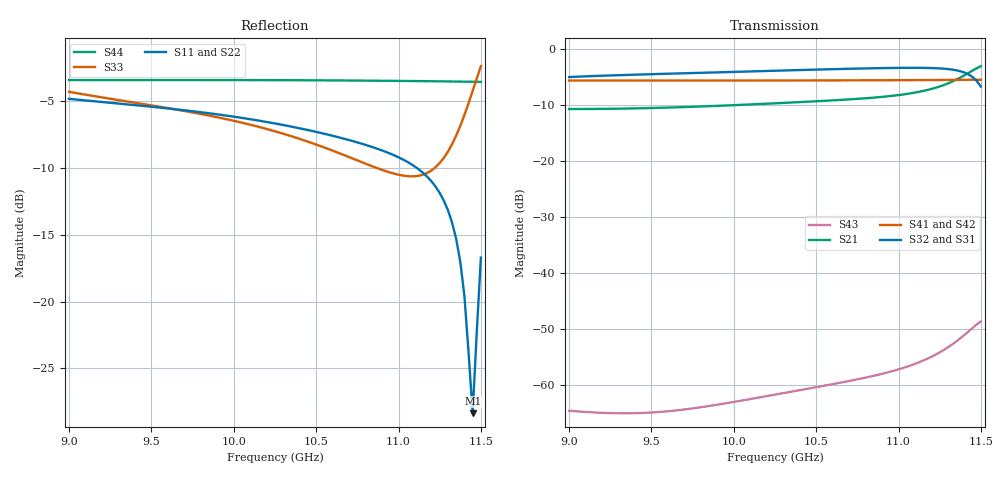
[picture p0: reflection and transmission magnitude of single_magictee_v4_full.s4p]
! Generated from PyAEDT SolutionData; AEDT ExportNetworkData workaround
# GHz S MA R 50
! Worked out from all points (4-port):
!   101 points, 9 GHz to 11.5 GHz, reference 50 ohm
!   strongest paths, dB at 9 GHz, 9.625 GHz, 10.25 GHz, 10.88 GHz, 11.5 GHz:
!     S32: -5.0, -4.4, -3.9, -3.5, -6.7
!     S31: -5.0, -4.4, -3.9, -3.5, -6.8
!     S41: -5.7, -5.7, -5.6, -5.6, -5.5
!     S42: -5.7, -5.7, -5.7, -5.6, -5.6
!     S21: -10.7, -10.5, -9.7, -8.6, -3.1
!     S43: -64.6, -64.6, -61.7, -58.1, -48.6
!   lowest |S11| = -28.4 dB at 11.45 GHz (marker M1), VSWR 1.08, Z = 46.4 + j0.719 ohm
!   |S11| at or under -10 dB: 11.11 GHz to end of sweep
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9  0.575 20.5  0.2905 -76.8  0.5595 -8.6  0.5215 39.9
   0.2905 -76.8  0.575 20.3  0.5603 -8.6  0.5207 -140.1
   0.5595 -8.6  0.5603 -8.6  0.6108 170.6  0.0005912 94.4
   0.5215 39.9  0.5207 -140.1  0.0005912 94.4  0.676 -145.8
9.725  0.5188 -66.0  0.3033 -174.0  0.6057 -135.9  0.5215 -37.3
       0.3033 -174.0  0.5183 -66.3  0.6069 -135.9  0.5206 142.7
       0.6057 -135.9  0.6069 -135.9  0.5145 8.5  0.0006138 -7.5
       0.5215 -37.3  0.5206 142.7  0.0006138 -7.5  0.676 146.2
10.55  0.4253 -157.9  0.3438 79.5  0.6538 84.4  0.523 -120.7
       0.3438 79.5  0.4241 -158.6  0.6556 84.3  0.5216 59.3
       0.6538 84.4  0.6556 84.3  0.3777 -162.7  0.0009898 -144.2
       0.523 -120.7  0.5216 59.3  0.0009898 -144.2  0.6741 71.3
11.05  0.3348 149.1  0.396 15.3  0.6743 -5.3  0.5257 -169.9
       0.396 15.3  0.3333 148.0  0.6768 -5.5  0.5234 10.0
       0.6743 -5.3  0.6768 -5.5  0.2953 98.4  0.001459 110.9
       0.5257 -169.9  0.5234 10.0  0.001459 110.9  0.6706 26.1
11.35  0.1718 112.4  0.5303 -27.4  0.6401 -72.8  0.5286 160.7
       0.5303 -27.4  0.1694 109.3  0.6441 -73.1  0.5245 -19.2
       0.6401 -72.8  0.6441 -73.1  0.4188 45.8  0.002452 28.3
       0.5286 160.7  0.5245 -19.2  0.002452 28.3  0.6674 -1.3
11.45  0.0382 168.3  0.6404 -49.3  0.5547 -106.0  0.5297 150.8
       0.6404 -49.3  0.02653 170.6  0.5598 -106.4  0.5251 -28.8
       0.5547 -106.0  0.5598 -106.4  0.6155 18.8  0.003242 -10.4
       0.5297 150.8  0.5251 -28.8  0.003242 -10.4  0.6661 -10.5
11.5  0.1463 -137.1  0.7005 -64.5  0.4551 -127.5  0.5299 145.8
      0.7005 -64.5  0.1437 -132.2  0.4608 -128.0  0.5257 -33.6
      0.4551 -127.5  0.4608 -128.0  0.7619 -0.6  0.003707 -34.7
      0.5299 145.8  0.5257 -33.6  0.003707 -34.7  0.6654 -15.1
